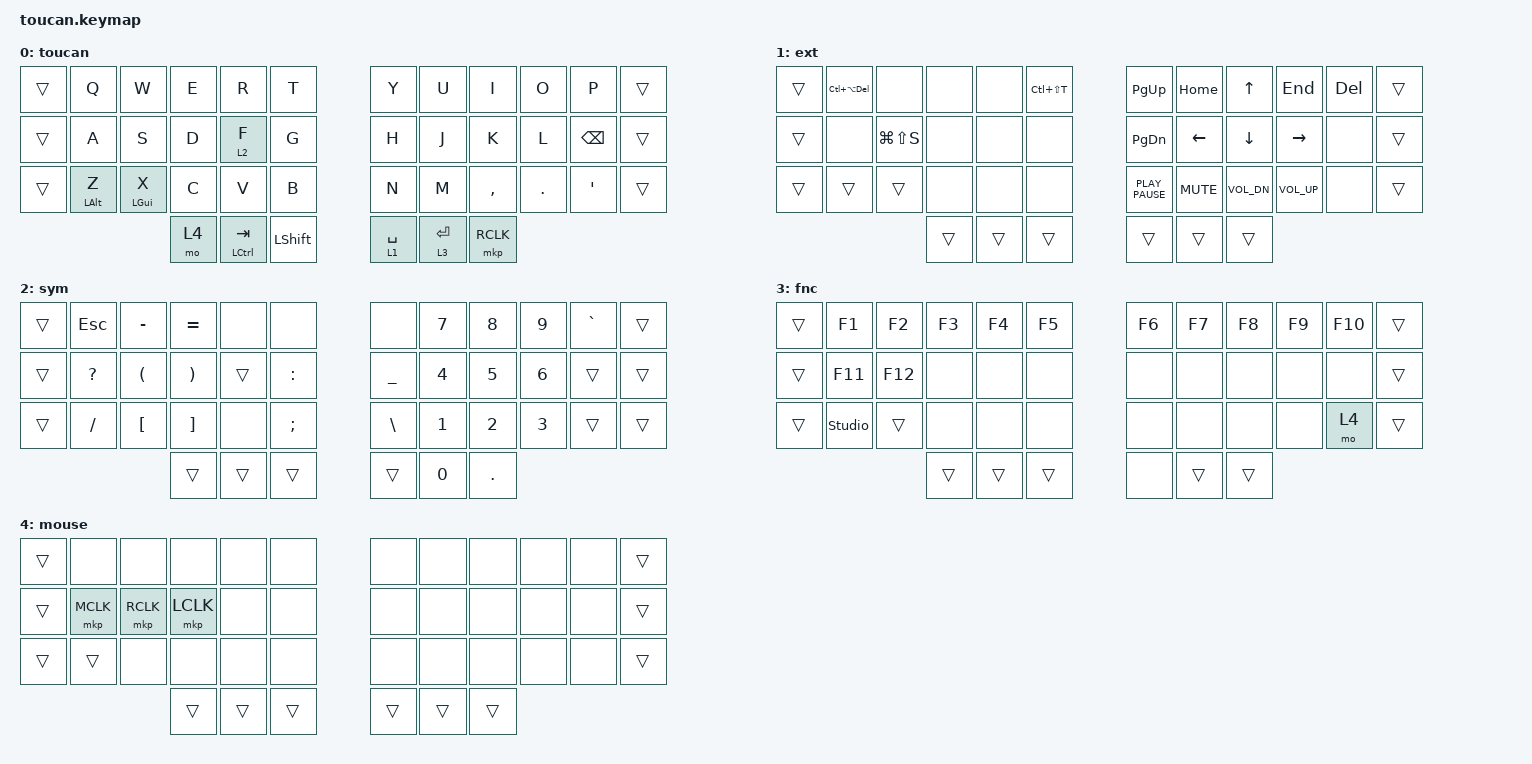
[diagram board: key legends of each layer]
#include <behaviors.dtsi>
#include <dt-bindings/zmk/keys.h>
#include <dt-bindings/zmk/bt.h>
#include <dt-bindings/zmk/outputs.h>

#include <dt-bindings/zmk/pointing.h>

#define BASE 0
#define NAV  1
#define SYM  2
#define ADJ  3
#define MOU  4

/ {

    keymap {
        compatible = "zmk,keymap";

        base {
            display-name = "toucan";
            bindings = <
            &trans      &kp Q               &kp W               &kp E    &kp R            &kp T             &kp Y          &kp U          &kp I        &kp O      &kp P             &trans
            &trans      &kp A               &kp S               &kp D    &lt 2 F          &kp G             &kp H          &kp J          &kp K        &kp L      &kp BACKSPACE     &trans
            &trans      &mt LEFT_ALT Z      &mt LEFT_GUI X      &kp C    &kp V            &kp B             &kp N          &kp M          &kp COMMA    &kp DOT    &kp SQT           &trans
                                       &mo 4      &mt LCTRL TAB    &kp LEFT_SHIFT    &lt 1 SPACE    &lt 3 ENTER        &mkp RCLK
            >;
        };

        nav {
            display-name = "ext";
            bindings = <
            &trans      &kp LC(LA(DEL))    &none            &none    &none     &kp LC(LS(T))    &kp PAGE_UP         &kp HOME      &kp UP          &kp END            &kp DEL        &trans
            &trans      &none              &kp LG(LS(S))    &none    &none     &none            &kp PAGE_DOWN       &kp LEFT      &kp DOWN        &kp RIGHT          &none          &trans
            &trans      &trans             &trans           &none    &none     &none            &kp K_PLAY_PAUSE    &kp C_MUTE    &kp C_VOL_DN    &kp C_VOLUME_UP    &none          &trans
                                            &trans    &trans    &trans           &trans              &trans     &trans
            >;
        };

        sym {
            display-name = "sym";
            bindings = <
            &trans      &kp ESCAPE      &kp MINUS               &kp EQUAL                &none     &none            &none            &kp N7          &kp N8          &kp N9          &kp GRAVE      &trans
            &trans      &kp QUESTION    &kp LEFT_PARENTHESIS    &kp RIGHT_PARENTHESIS    &trans    &kp COLON        &kp UNDERSCORE   &kp NUMBER_4    &kp N5          &kp NUMBER_6    &trans         &trans
            &trans      &kp SLASH       &kp LEFT_BRACKET        &kp RIGHT_BRACKET        &none     &kp SEMICOLON    &kp BACKSLASH    &kp NUMBER_1    &kp NUMBER_2    &kp NUMBER_3    &trans         &trans
                                                         &trans        &trans    &trans           &trans           &kp N0       &kp DOT
            >;
        };

        adj {
            display-name = "fnc";
            bindings = <
            &trans      &kp F1              &kp F2     &kp F3    &kp F4    &kp F5    &kp F6    &kp F7    &kp F8    &kp F9    &kp F10     &trans
            &trans      &kp F11             &kp F12    &none     &none     &none     &none     &none     &none     &none     &none       &trans
            &trans      &studio_unlock      &trans     &none     &none     &none     &none     &none     &none     &none     &mo 4       &trans
                                &trans      &trans    &trans    &none     &trans        &trans
            >;
        };

        mou {
            display-name = "mouse";
            bindings = <
            &trans      &none       &none       &none       &none       &none       &none       &none       &none       &none       &none       &trans
            &trans      &mkp MCLK   &mkp RCLK   &mkp LCLK   &none       &none       &none       &none       &none       &none       &none       &trans
            &trans      &trans      &none       &none       &none       &none       &none       &none       &none       &none       &none       &trans
                                &trans      &trans    &trans    &trans     &trans        &trans
            >;
        };
    };
};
